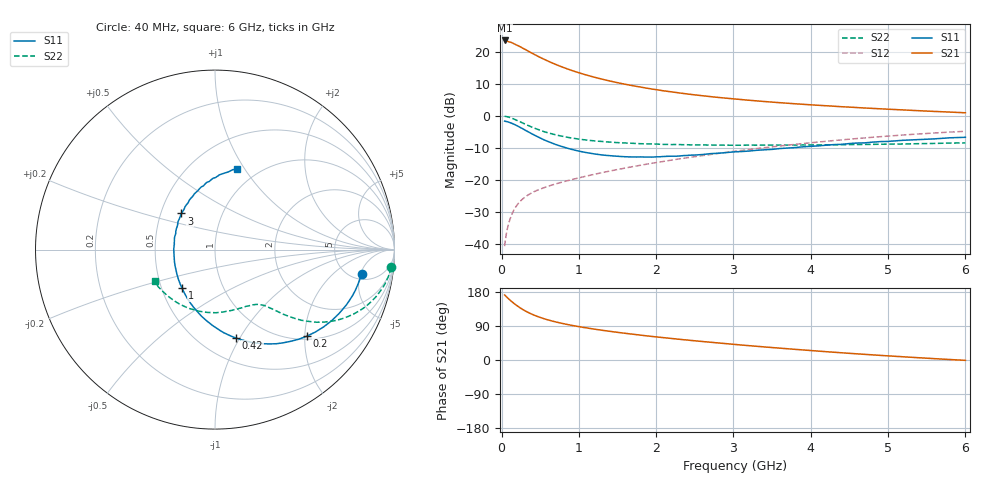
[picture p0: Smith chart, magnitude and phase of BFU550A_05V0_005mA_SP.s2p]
! Filename:  P:\Prog\Test\Noise\ATS_data\Testdata_Net\03 Spar\BFU550A_APG2013_35_C05_05p0V_005mA_SP_CM01_D.s2p
! Date/Time: Tue 16/Apr/2013 15:10:17
! BFU550A_APG2013_35_C05_05p0V_1to35mA_SP_CM01_Bias4_R.s2p
! MDIF S-parameter v. bias file
! BFU550A_APG2013_35_C05_05p0V_1to35mA_SP_CM01
! Date/time Mon Apr 15 15:41:37 2013
! VAR V_out= 5.0010
! VAR I_out= 4.9950
! VAR V_in= 0.8180
! VAR I_in= 0.0527
! Device data file deembeded for feedlines and parallel
! Original file: \03 Spar\BFU550A_APG2013_35_C05_05p0V_005mA_SP_CM01_R.s2p
! Feed-files: PR017V01_150413_Feed1.s2p, PR017V01_150413_Feed2.s2p
! Parallel-file: PR017V01_150413_Par.s2p
# MHz S MA R 50
!  Freq-MHz  S11-mag  S11-arg  S21-mag  S21-arg  S12-mag  S12-arg  S22-mag  S22-arg
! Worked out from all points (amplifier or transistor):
!   98 points, 40 MHz to 6 GHz, reference 50 ohm
!   highest |S21| = 23.5 dB at 40 MHz (marker M1)
!   |S21| within 3 dB of that: start of sweep to 322.2 MHz
!   unconditionally stable (mu >= 1): 1.639 GHz to 2.583 GHz
!   at 300 MHz: K = 0.40, MSG = 23.1 dB, |S12| = -25.3 dB
!   at 1.6 GHz: K = 1.00, MSG = 13.0 dB, |S12| = -16.2 dB
!   at 6 GHz: K = 0.89, MSG = 2.9 dB, |S12| = -4.8 dB
!   S11 on the Smith chart (normalised r, x): 40 MHz: 6.10, -5.26; 200 MHz: 1.08, -2.06; 420 MHz: 0.73, -0.96; 1 GHz: 0.64, -0.30; 3 GHz: 0.64, +0.28; 6 GHz: 0.81, +0.92
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40  0.8292 -9.4  14.94 171.6  0.009381 85.3  0.988 -5.8
80  0.808 -18.5  14.51 163.6  0.01847 80.1  0.9665 -11.4
120  0.7774 -27.3  14.01 156.2  0.02674 75.8  0.9337 -16.5
160  0.7428 -35.4  13.3 149.5  0.03426 71.9  0.8953 -21.0
200  0.7043 -43.1  12.59 143.4  0.04083 68.7  0.8515 -24.9
240  0.6632 -50.4  11.96 137.7  0.04659 66.2  0.8099 -28.3
300  0.606 -60.1  10.93 130.3  0.05402 63.2  0.7496 -32.3
360  0.5534 -68.8  9.986 124.0  0.06042 61.1  0.6964 -35.5
420  0.5063 -76.7  9.129 118.5  0.06604 59.7  0.6496 -37.9
480  0.4664 -83.8  8.37 113.8  0.07104 58.8  0.6097 -39.8
550  0.4242 -91.6  7.625 108.9  0.07629 58.1  0.5689 -41.5
650  0.3791 -101.3  6.716 103.1  0.08376 57.9  0.5263 -43.3
800  0.3285 -114.5  5.681 95.9  0.09433 58.2  0.4784 -45.2
1000  0.2831 -130.2  4.699 88.1  0.1085 59.1  0.436 -47.2
1050  0.2754 -134.0  4.501 86.3  0.1121 59.4  0.4278 -47.7
1500  0.2355 -163.9  3.289 73.0  0.1463 60.7  0.384 -52.7
2050  0.2313 167.8  2.505 59.9  0.1917 60.7  0.3619 -60.5
3000  0.2751 133.0  1.843 41.4  0.2799 57.1  0.3491 -78.2
3100  0.2787 130.1  1.798 39.6  0.2899 56.4  0.3498 -80.3
4100  0.3416 106.2  1.462 23.4  0.3923 48.7  0.3539 -103.4
5200  0.4176 86.5  1.238 8.4  0.5054 37.4  0.3656 -130.8
6000  0.4647 74.6  1.118 -0.9  0.5756 28.1  0.38 -152.2
